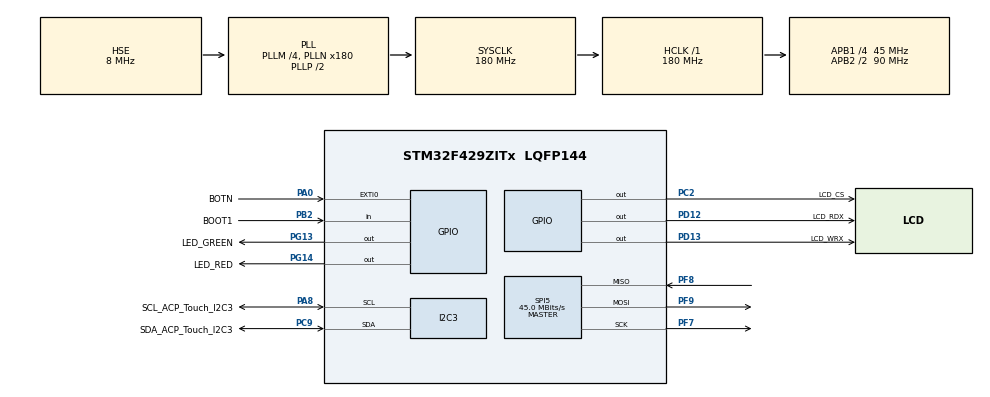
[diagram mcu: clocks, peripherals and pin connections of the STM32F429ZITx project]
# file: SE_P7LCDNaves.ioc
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Mcu.Family=STM32F4
Mcu.Name=STM32F429ZITx
Mcu.Package=LQFP144
NVIC.EXTI0_IRQn=true\:0\:0\:false\:false\:true\:true\:true\:true
NVIC.PriorityGroup=NVIC_PRIORITYGROUP_4
NVIC.TIM3_IRQn=true\:0\:0\:false\:false\:true\:true\:true\:true
PA0/WKUP.GPIO_Label=BOTN
PA0/WKUP.GPIO_PuPd=GPIO_PULLDOWN
PA0/WKUP.Signal=GPXTI0
PA13.Signal=SYS_JTMS-SWDIO
PA14.Signal=SYS_JTCK-SWCLK
PA8.GPIO_Label=SCL_ACP_Touch_I2C3
PA8.GPIO_Pu=GPIO_PULLUP
PA8.GPIO_Speed=GPIO_SPEED_FREQ_HIGH
PA8.Mode=I2C
PA8.Signal=I2C3_SCL
PB2/BOOT1.GPIO_Label=BOOT1
PB2/BOOT1.GPIO_PuPd=GPIO_PULLUP
PB2/BOOT1.Signal=GPIO_Input
PC2.GPIO_Label=LCD_CS
PC2.GPIO_Speed=GPIO_SPEED_FREQ_HIGH
PC2.PinState=GPIO_PIN_SET
PC2.Signal=GPIO_Output
PC9.GPIO_Label=SDA_ACP_Touch_I2C3
PC9.GPIO_Pu=GPIO_PULLUP
PC9.GPIO_Speed=GPIO_SPEED_FREQ_HIGH
PC9.Mode=I2C
PC9.Signal=I2C3_SDA
PD12.GPIO_Label=LCD_RDX
PD12.GPIO_Speed=GPIO_SPEED_FREQ_HIGH
PD12.Signal=GPIO_Output
PD13.GPIO_Label=LCD_WRX
PD13.GPIO_Speed=GPIO_SPEED_FREQ_HIGH
PD13.Signal=GPIO_Output
PF7.Mode=Full_Duplex_Master
PF7.Signal=SPI5_SCK
PF8.Mode=Full_Duplex_Master
PF8.Signal=SPI5_MISO
PF9.GPIO_PuPd=GPIO_NOPULL
PF9.Mode=Full_Duplex_Master
PF9.Signal=SPI5_MOSI
PG13.GPIO_Label=LED_GREEN
PG13.PinState=GPIO_PIN_RESET
PG13.Signal=GPIO_Output
PG14.GPIO_Label=LED_RED
PG14.PinState=GPIO_PIN_RESET
PG14.Signal=GPIO_Output
PH0/OSC_IN.Mode=HSE-External-Oscillator
PH0/OSC_IN.Signal=RCC_OSC_IN
PH1/OSC_OUT.Mode=HSE-External-Oscillator
PH1/OSC_OUT.Signal=RCC_OSC_OUT
ProjectManager.HeapSize=0x200
ProjectManager.StackSize=0x400
ProjectManager.TargetToolchain=STM32CubeIDE
RCC.48MHZClocksFreq_Value=90000000
RCC.AHBFreq_Value=180000000
RCC.APB1CLKDivider=RCC_HCLK_DIV4
RCC.APB1Freq_Value=45000000
RCC.APB1TimFreq_Value=90000000
RCC.APB2CLKDivider=RCC_HCLK_DIV2
RCC.APB2Freq_Value=90000000
RCC.APB2TimFreq_Value=180000000
RCC.CortexFreq_Value=180000000
RCC.HCLKFreq_Value=180000000
RCC.HSE_VALUE=8000000
RCC.HSI_VALUE=16000000
RCC.LSE_VALUE=32768
RCC.PLLM=4
RCC.PLLN=180
RCC.PLLSourceVirtual=RCC_PLLSOURCE_HSE
RCC.SYSCLKFreq_VALUE=180000000
RCC.SYSCLKSource=RCC_SYSCLKSOURCE_PLLCLK
RCC.VCOOutputFreq_Value=360000000
SPI5.CalculateBaudRate=45.0 MBits/s
SPI5.Direction=SPI_DIRECTION_2LINES
SPI5.Mode=SPI_MODE_MASTER
SPI5.VirtualType=VM_MASTER
TIM3.Period=2699
TIM3.Prescaler=99
VP_TIM3_VS_ClockSourceINT.Mode=Internal
board=custom

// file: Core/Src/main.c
/* USER CODE BEGIN Header */
/**
  ******************************************************************************
  * @file           : main.c
  * @brief          : Main program body
  ******************************************************************************
  * @attention
  *
  * Copyright (c) 2022 STMicroelectronics.
  * All rights reserved.
  *
  * This software is licensed under terms that can be found in the LICENSE file
  * in the root directory of this software component.
  * If no LICENSE file comes with this software, it is provided AS-IS.
  *
  ******************************************************************************
  */
/* USER CODE END Header */
#include "main.h"

/* USER CODE BEGIN Includes */
#include "main.h"
#include <stdbool.h>
#include <stdio.h>
#include <stdlib.h>
#include <string.h>
/* USER CODE END Includes */

/* USER CODE BEGIN PD */
// Image settings
#define IMG_ROWS 320
#define IMG_COLUMNS 240
#define IMG_TOTAL_BUF32 IMG_ROWS*IMG_COLUMNS/2 //(total de datos 32 bits)= 38400
#define IMG_TOTAL_BUF16 IMG_ROWS*IMG_COLUMNS //(total de datos 16 bits)= 76800
/* USER CODE END PD */

I2C_HandleTypeDef hi2c3;

SPI_HandleTypeDef hspi5;

TIM_HandleTypeDef htim3;

void delayx(uint32_t nTime);

void SystemClock_Config(void);
static void MX_GPIO_Init(void);
static void MX_I2C3_Init(void);
static void MX_SPI5_Init(void);
static void MX_TIM3_Init(void);

/* USER CODE BEGIN 0 */
#include "lcd_Touch_F4DISCO.c" //incluir librerias del LCD para Touch
static volatile uint32_t frame_buffer[IMG_TOTAL_BUF32]; //Bufer de imagen
uint16_t Xant=0, Yant=0, TP_X=0, TP_Y=0;				//Valores de touch
uint16_t Y_nave=120, Y_nave_ant=120, vel=500;			//Valores de nave
uint16_t Y_enemy=15, Y_enemy_ant=16, dir_enemy=0;		//Valores de enemigo
int16_t LaserX, LaserY,LaserX_ant, LaserY_ant, Laser_ON;//Valores del laser
uint16_t dir=0, win=5;									//Dirección y vidas de enemigo
//TP_STATE TP_StateOK;/*------------- INTERRUPCION DEL TIMER 3 -------------------------------------*/
void HAL_TIM_PeriodElapsedCallback(TIM_HandleTypeDef *htim){
	HAL_GPIO_TogglePin(GPIOG, LED_GREEN_Pin);
	if(win!=0){ //Si el enemigo todavia tiene vidas...
		if(dir_enemy == 0){	//Si va para abajo...
			if(Y_enemy_ant < 225){
				Y_enemy = Y_enemy + 1; //Baja 1
				//Borra nave enemiga
				LCD_ILI9341_DrawFilledRectangle_ImageBuffer(0, Y_enemy_ant-15, 20, Y_enemy_ant-5, ILI9341_COLOR_BLACK, (uint32_t*)frame_buffer); //dibujar nuevo
				LCD_ILI9341_DrawFilledRectangle_ImageBuffer(10, Y_enemy_ant-5, 30, Y_enemy_ant+5, ILI9341_COLOR_BLACK, (uint32_t*)frame_buffer); //dibujar nuevo
				LCD_ILI9341_DrawFilledRectangle_ImageBuffer(0, Y_enemy_ant+5, 20, Y_enemy_ant+15, ILI9341_COLOR_BLACK, (uint32_t*)frame_buffer); //dibujar nuevo
				//Pinta nueva nave enemiga
				LCD_ILI9341_DrawFilledRectangle_ImageBuffer(0, Y_enemy-15, 20, Y_enemy-5, ILI9341_COLOR_RED, (uint32_t*)frame_buffer); //dibujar nuevo
				LCD_ILI9341_DrawFilledRectangle_ImageBuffer(10, Y_enemy-5, 30, Y_enemy+5, ILI9341_COLOR_RED, (uint32_t*)frame_buffer); //dibujar nuevo
				LCD_ILI9341_DrawFilledRectangle_ImageBuffer(0, Y_enemy-5, 10,Y_enemy+5, ILI9341_COLOR_BLACK, (uint32_t*)frame_buffer); //dibujar nuevo
				LCD_ILI9341_DrawFilledRectangle_ImageBuffer(0, Y_enemy+5, 20, Y_enemy+15, ILI9341_COLOR_RED, (uint32_t*)frame_buffer); //dibujar nuevo
				Y_enemy_ant = Y_enemy;

			}
			else{dir_enemy=1;} //Llegó al fondo, ahora va para arriba
		}
		if(dir_enemy == 1){ //Si va para arriba...
			if(Y_enemy_ant > 15){
				Y_enemy = Y_enemy - 1; //Sube 1
				//Borra nave enemiga
				LCD_ILI9341_DrawFilledRectangle_ImageBuffer(0, Y_enemy_ant-15, 20, Y_enemy_ant-5, ILI9341_COLOR_BLACK, (uint32_t*)frame_buffer); //dibujar nuevo
				LCD_ILI9341_DrawFilledRectangle_ImageBuffer(10, Y_enemy_ant-5, 30, Y_enemy_ant+5, ILI9341_COLOR_BLACK, (uint32_t*)frame_buffer); //dibujar nuevo
				LCD_ILI9341_DrawFilledRectangle_ImageBuffer(0, Y_enemy_ant+5, 20, Y_enemy_ant+15, ILI9341_COLOR_BLACK, (uint32_t*)frame_buffer); //dibujar nuevo
				//Pinta nueva nave
				LCD_ILI9341_DrawFilledRectangle_ImageBuffer(0, Y_enemy-15, 20, Y_enemy-5, ILI9341_COLOR_RED, (uint32_t*)frame_buffer); //dibujar nuevo
				LCD_ILI9341_DrawFilledRectangle_ImageBuffer(10, Y_enemy-5, 30, Y_enemy+5, ILI9341_COLOR_RED, (uint32_t*)frame_buffer); //dibujar nuevo
				LCD_ILI9341_DrawFilledRectangle_ImageBuffer(0, Y_enemy-5, 10,Y_enemy+5, ILI9341_COLOR_BLACK, (uint32_t*)frame_buffer); //dibujar nuevo
				LCD_ILI9341_DrawFilledRectangle_ImageBuffer(0, Y_enemy+5, 20, Y_enemy+15, ILI9341_COLOR_RED, (uint32_t*)frame_buffer); //dibujar nuevo
				Y_enemy_ant = Y_enemy;

			}
			else{dir_enemy=0;} //Llegó al tope, va para abajo
		}

		if(Laser_ON == 1){ //Si se picó al botón..
			LaserX = LaserX-1;	//El laser avanza a la izquierda...
			if (LaserX>1){		//Cuando no ha llegado al borde...
				//Borrar y pintar nuevo laser
				LCD_ILI9341_DrawFilledRectangle_ImageBuffer(LaserX_ant, LaserY-5, LaserX_ant+20,LaserY+5, ILI9341_COLOR_BLACK, (uint32_t*)frame_buffer);
				LCD_ILI9341_DrawFilledRectangle_ImageBuffer(LaserX, LaserY-5, LaserX+20,LaserY+5, ILI9341_COLOR_YELLOW, (uint32_t*)frame_buffer);
				LaserX_ant=LaserX;
				//Si el laser llega al enemigo y están en coordenadas parecidas...
				if(LaserX==15 && LaserY>Y_enemy-20 && LaserY<Y_enemy+20){
					win=win-1;	//Se quita una vida
					//Se borra un cuadro de vida
					LCD_ILI9341_DrawFilledRectangle_ImageBuffer(285-50*(5-win), 0, 285-1, 14, ILI9341_COLOR_BLACK, (uint32_t*)frame_buffer);
				}
			}
			else{ //Ya llegó al borde y se borra
				LCD_ILI9341_DrawFilledRectangle_ImageBuffer(0, LaserY-5, 21, LaserY+5, ILI9341_COLOR_BLACK, (uint32_t*)frame_buffer);
				Laser_ON=0;
			}
		}
	}
	else{}
}
/* USER CODE END 0 */

int main(void)
{

  /* MCU Configuration--------------------------------------------------------*/

  /* Reset of all peripherals, Initializes the Flash interface and the Systick. */
  HAL_Init();

  /* Configure the system clock */
  SystemClock_Config();

  /* Initialize all configured peripherals */
  MX_GPIO_Init();
  MX_I2C3_Init();
  MX_SPI5_Init();
  MX_TIM3_Init();
  /* USER CODE BEGIN 2 */
	HAL_GPIO_WritePin(GPIOG, LED_RED_Pin, GPIO_PIN_RESET); //LED1 apagado
	HAL_GPIO_WritePin(GPIOG, LED_GREEN_Pin, GPIO_PIN_RESET); //LED2 apagado
	LCD_ILI9341_Init(&hspi5); //inicializar LCD
	LCD_ILI9341_Rotate(LCD_ILI9341_Orientation_Landscape_2);
	if (TP_Config() != 0){ //Inicializar Touch, ERROR?
		LCD_ILI9341_DrawFilledRectangle_ImageBuffer(0,0,320,240, ILI9341_COLOR_WHITE,(uint32_t*)frame_buffer);
		LCD_ILI9341_Puts_ImageBuffer(10, 10, "ID o CONFIGURACION ERROR", &LCD_Font_7x10,ILI9341_COLOR_RED, (uint32_t*)frame_buffer);
		//LCD_ILI9341_Puts(10, 40, "ID o CONFIGURACION ERROR", &LCD_Font_7x10, ILI9341_COLOR_RED,ILI9341_COLOR_BLACK);
		while(1){}
	}
	/////////////////////////////////Preparaciones//////////////////////////////////////
	//Pintar fondo, botón y barra de vida
	LCD_ILI9341_DrawFilledRectangle_ImageBuffer(0,0,320,240, ILI9341_COLOR_BLACK,(uint32_t*)frame_buffer);
	LCD_ILI9341_DrawFilledRectangle_ImageBuffer(140,220,180,240, ILI9341_COLOR_WHITE,(uint32_t*)frame_buffer);
	LCD_ILI9341_DrawFilledRectangle_ImageBuffer(35,0,285,15, ILI9341_COLOR_RED,(uint32_t*)frame_buffer);
	//Pintar nave de personaje
	LCD_ILI9341_DrawFilledRectangle_ImageBuffer(310, Y_nave-25, 320,Y_nave-15, ILI9341_COLOR_BLUE, (uint32_t*)frame_buffer); //dibujar nuevo
	LCD_ILI9341_DrawFilledRectangle_ImageBuffer(300, Y_nave-15, 320,Y_nave-5, ILI9341_COLOR_BLUE, (uint32_t*)frame_buffer); //dibujar nuevo
	LCD_ILI9341_DrawFilledRectangle_ImageBuffer(290, Y_nave-5, 310,Y_nave+5, ILI9341_COLOR_BLUE, (uint32_t*)frame_buffer); //dibujar nuevo
	LCD_ILI9341_DrawFilledRectangle_ImageBuffer(300, Y_nave+5, 320,Y_nave+15, ILI9341_COLOR_BLUE, (uint32_t*)frame_buffer); //dibujar nuevo
	LCD_ILI9341_DrawFilledRectangle_ImageBuffer(310, Y_nave+15, 320,Y_nave+25, ILI9341_COLOR_BLUE, (uint32_t*)frame_buffer); //dibujar nuevo

	LCD_ILI9341_DisplayImage((uint32_t*)frame_buffer);
	HAL_TIM_Base_Start_IT(&htim3);//inicializa interrupciones de overflow del timer3
  /* USER CODE END 2 */

  /* Infinite loop */
  /* USER CODE BEGIN WHILE */
	while (1){
		TP_GetState();
		//>1 para evitar falsas lecturas del touch
		if((TP_State.TouchDetected)&&(TP_State.X<239)&&(TP_State.Y>1)){
			TP_X=TP_State.Y;//Coordenada del touch en X Porque el display esta girado
			TP_Y=240-TP_State.X; //Coordenada del touch en Y
			//Dibujar posicion del touch
			//LCD_ILI9341_DrawLine_ImageBuffer(Xant-10, Yant, Xant+10, Yant,ILI9341_COLOR_GREEN2, (uint32_t*)frame_buffer);
			//LCD_ILI9341_DrawLine_ImageBuffer(Xant, Yant-10, Xant, Yant+10,ILI9341_COLOR_GREEN2, (uint32_t*)frame_buffer);
			//LCD_ILI9341_DrawLine_ImageBuffer(TP_X-10, TP_Y, TP_X+10, TP_Y,ILI9341_COLOR_BLACK, (uint32_t*)frame_buffer);
			//LCD_ILI9341_DrawLine_ImageBuffer(TP_X, TP_Y-10, TP_X, TP_Y+10,ILI9341_COLOR_BLACK, (uint32_t*)frame_buffer);
			if(TP_X>200){
				if((TP_Y>25)&&(TP_Y<215)){
					Y_nave=TP_Y;
					//Borrar nave de jugador
					LCD_ILI9341_DrawFilledRectangle_ImageBuffer(310, Y_nave_ant-25, 320,Y_nave_ant-15, ILI9341_COLOR_BLACK, (uint32_t*)frame_buffer); //dibujar nuevo
					LCD_ILI9341_DrawFilledRectangle_ImageBuffer(300, Y_nave_ant-15, 320,Y_nave_ant-5, ILI9341_COLOR_BLACK, (uint32_t*)frame_buffer); //dibujar nuevo
					LCD_ILI9341_DrawFilledRectangle_ImageBuffer(290, Y_nave_ant-5, 310,Y_nave_ant+5, ILI9341_COLOR_BLACK, (uint32_t*)frame_buffer); //dibujar nuevo
					LCD_ILI9341_DrawFilledRectangle_ImageBuffer(300, Y_nave_ant+5, 320,Y_nave_ant+15, ILI9341_COLOR_BLACK, (uint32_t*)frame_buffer); //dibujar nuevo
					LCD_ILI9341_DrawFilledRectangle_ImageBuffer(310, Y_nave_ant+15, 320,Y_nave_ant+25, ILI9341_COLOR_BLACK, (uint32_t*)frame_buffer); //dibujar nuevo
					//Imprimir nueva nave de jugador
					LCD_ILI9341_DrawFilledRectangle_ImageBuffer(310, Y_nave-25, 320,Y_nave-15, ILI9341_COLOR_BLUE, (uint32_t*)frame_buffer); //dibujar nuevo
					LCD_ILI9341_DrawFilledRectangle_ImageBuffer(300, Y_nave-15, 320,Y_nave-5, ILI9341_COLOR_BLUE, (uint32_t*)frame_buffer); //dibujar nuevo
					LCD_ILI9341_DrawFilledRectangle_ImageBuffer(290, Y_nave-5, 310,Y_nave+5, ILI9341_COLOR_BLUE, (uint32_t*)frame_buffer); //dibujar nuevo
					LCD_ILI9341_DrawFilledRectangle_ImageBuffer(310, Y_nave-5, 320,Y_nave+5, ILI9341_COLOR_BLACK, (uint32_t*)frame_buffer); //dibujar nuevo
					LCD_ILI9341_DrawFilledRectangle_ImageBuffer(300, Y_nave+5, 320,Y_nave+15, ILI9341_COLOR_BLUE, (uint32_t*)frame_buffer); //dibujar nuevo
					LCD_ILI9341_DrawFilledRectangle_ImageBuffer(310, Y_nave+15, 320,Y_nave+25, ILI9341_COLOR_BLUE, (uint32_t*)frame_buffer); //dibujar nuevo
					Y_nave_ant=Y_nave;
				}
			}
			if((TP_X>140)&&(TP_X<180)&&(TP_Y>220)&&(TP_Y<240)){ //Presión del boton de disparo
				Laser_ON=1;
				LaserY = Y_nave_ant;	//Captura eje Y para el laser
				LaserX = 280;			//Desde jugador...
				LaserX_ant=LaserX+1;
			}

			Xant=TP_X;
			Yant=TP_Y;

		}
		if(win==0){ //Si acabaste con el enemigo...
			//Borrar enemigo e imprimir mensaje de victoria
			LCD_ILI9341_DrawFilledRectangle_ImageBuffer(0, 0, 30, 30, ILI9341_COLOR_BLACK, (uint32_t*)frame_buffer);
			LCD_ILI9341_DrawFilledRectangle_ImageBuffer(0, 16, 140, 220, ILI9341_COLOR_BLACK, (uint32_t*)frame_buffer);
			LCD_ILI9341_DisplayImage((uint32_t*)frame_buffer);
			delayx(5);
			LCD_ILI9341_Puts_ImageBuffer(138 , 120, "YOU WIN", &LCD_Font_7x10,ILI9341_COLOR_GREEN, (uint32_t*)frame_buffer);
			LCD_ILI9341_DisplayImage((uint32_t*)frame_buffer);
			while(1){}	//Fin del juego
		}
		LCD_ILI9341_DisplayImage((uint32_t*)frame_buffer);
    /* USER CODE END WHILE */

	}
}

void delayx(uint32_t nTime) {while(nTime--);}

void SystemClock_Config(void)
{
  RCC_OscInitTypeDef RCC_OscInitStruct = {0};
  RCC_ClkInitTypeDef RCC_ClkInitStruct = {0};

  /** Configure the main internal regulator output voltage
  */
  __HAL_RCC_PWR_CLK_ENABLE();
  __HAL_PWR_VOLTAGESCALING_CONFIG(PWR_REGULATOR_VOLTAGE_SCALE1);

  /** Initializes the RCC Oscillators according to the specified parameters
  * in the RCC_OscInitTypeDef structure.
  */
  RCC_OscInitStruct.OscillatorType = RCC_OSCILLATORTYPE_HSE;
  RCC_OscInitStruct.HSEState = RCC_HSE_ON;
  RCC_OscInitStruct.PLL.PLLState = RCC_PLL_ON;
  RCC_OscInitStruct.PLL.PLLSource = RCC_PLLSOURCE_HSE;
  RCC_OscInitStruct.PLL.PLLM = 4;
  RCC_OscInitStruct.PLL.PLLN = 180;
  RCC_OscInitStruct.PLL.PLLP = RCC_PLLP_DIV2;
  RCC_OscInitStruct.PLL.PLLQ = 4;
  if (HAL_RCC_OscConfig(&RCC_OscInitStruct) != HAL_OK)
  {
    Error_Handler();
  }

  /** Activate the Over-Drive mode
  */
  if (HAL_PWREx_EnableOverDrive() != HAL_OK)
  {
    Error_Handler();
  }

  /** Initializes the CPU, AHB and APB buses clocks
  */
  RCC_ClkInitStruct.ClockType = RCC_CLOCKTYPE_HCLK|RCC_CLOCKTYPE_SYSCLK
                              |RCC_CLOCKTYPE_PCLK1|RCC_CLOCKTYPE_PCLK2;
  RCC_ClkInitStruct.SYSCLKSource = RCC_SYSCLKSOURCE_PLLCLK;
  RCC_ClkInitStruct.AHBCLKDivider = RCC_SYSCLK_DIV1;
  RCC_ClkInitStruct.APB1CLKDivider = RCC_HCLK_DIV4;
  RCC_ClkInitStruct.APB2CLKDivider = RCC_HCLK_DIV2;

  if (HAL_RCC_ClockConfig(&RCC_ClkInitStruct, FLASH_LATENCY_5) != HAL_OK)
  {
    Error_Handler();
  }
}

static void MX_I2C3_Init(void)
{

  hi2c3.Instance = I2C3;
  hi2c3.Init.ClockSpeed = 100000;
  hi2c3.Init.DutyCycle = I2C_DUTYCYCLE_2;
  hi2c3.Init.OwnAddress1 = 0;
  hi2c3.Init.AddressingMode = I2C_ADDRESSINGMODE_7BIT;
  hi2c3.Init.DualAddressMode = I2C_DUALADDRESS_DISABLE;
  hi2c3.Init.OwnAddress2 = 0;
  hi2c3.Init.GeneralCallMode = I2C_GENERALCALL_DISABLE;
  hi2c3.Init.NoStretchMode = I2C_NOSTRETCH_DISABLE;
  if (HAL_I2C_Init(&hi2c3) != HAL_OK)
  {
    Error_Handler();
  }

  /** Configure Analogue filter
  */
  if (HAL_I2CEx_ConfigAnalogFilter(&hi2c3, I2C_ANALOGFILTER_ENABLE) != HAL_OK)
  {
    Error_Handler();
  }

  /** Configure Digital filter
  */
  if (HAL_I2CEx_ConfigDigitalFilter(&hi2c3, 0) != HAL_OK)
  {
    Error_Handler();
  }

}

static void MX_SPI5_Init(void)
{

  /* SPI5 parameter configuration*/
  hspi5.Instance = SPI5;
  hspi5.Init.Mode = SPI_MODE_MASTER;
  hspi5.Init.Direction = SPI_DIRECTION_2LINES;
  hspi5.Init.DataSize = SPI_DATASIZE_8BIT;
  hspi5.Init.CLKPolarity = SPI_POLARITY_LOW;
  hspi5.Init.CLKPhase = SPI_PHASE_1EDGE;
  hspi5.Init.NSS = SPI_NSS_SOFT;
  hspi5.Init.BaudRatePrescaler = SPI_BAUDRATEPRESCALER_2;
  hspi5.Init.FirstBit = SPI_FIRSTBIT_MSB;
  hspi5.Init.TIMode = SPI_TIMODE_DISABLE;
  hspi5.Init.CRCCalculation = SPI_CRCCALCULATION_DISABLE;
  hspi5.Init.CRCPolynomial = 10;
  if (HAL_SPI_Init(&hspi5) != HAL_OK)
  {
    Error_Handler();
  }

}

static void MX_TIM3_Init(void)
{

  TIM_ClockConfigTypeDef sClockSourceConfig = {0};
  TIM_MasterConfigTypeDef sMasterConfig = {0};

  htim3.Instance = TIM3;
  htim3.Init.Prescaler = 99;
  htim3.Init.CounterMode = TIM_COUNTERMODE_UP;
  htim3.Init.Period = 2699;
  htim3.Init.ClockDivision = TIM_CLOCKDIVISION_DIV1;
  htim3.Init.AutoReloadPreload = TIM_AUTORELOAD_PRELOAD_DISABLE;
  if (HAL_TIM_Base_Init(&htim3) != HAL_OK)
  {
    Error_Handler();
  }
  sClockSourceConfig.ClockSource = TIM_CLOCKSOURCE_INTERNAL;
  if (HAL_TIM_ConfigClockSource(&htim3, &sClockSourceConfig) != HAL_OK)
  {
    Error_Handler();
  }
  sMasterConfig.MasterOutputTrigger = TIM_TRGO_RESET;
  sMasterConfig.MasterSlaveMode = TIM_MASTERSLAVEMODE_DISABLE;
  if (HAL_TIMEx_MasterConfigSynchronization(&htim3, &sMasterConfig) != HAL_OK)
  {
    Error_Handler();
  }

}

static void MX_GPIO_Init(void)
{
  GPIO_InitTypeDef GPIO_InitStruct = {0};

  /* GPIO Ports Clock Enable */
  __HAL_RCC_GPIOF_CLK_ENABLE();
  __HAL_RCC_GPIOH_CLK_ENABLE();
  __HAL_RCC_GPIOC_CLK_ENABLE();
  __HAL_RCC_GPIOA_CLK_ENABLE();
  __HAL_RCC_GPIOB_CLK_ENABLE();
  __HAL_RCC_GPIOD_CLK_ENABLE();
  __HAL_RCC_GPIOG_CLK_ENABLE();

  /*Configure GPIO pin Output Level */
  HAL_GPIO_WritePin(LCD_CS_GPIO_Port, LCD_CS_Pin, GPIO_PIN_SET);

  /*Configure GPIO pin Output Level */
  HAL_GPIO_WritePin(GPIOD, LCD_RDX_Pin|LCD_WRX_Pin, GPIO_PIN_RESET);

  /*Configure GPIO pin Output Level */
  HAL_GPIO_WritePin(GPIOG, LED_GREEN_Pin|LED_RED_Pin, GPIO_PIN_RESET);

  /*Configure GPIO pin : LCD_CS_Pin */
  GPIO_InitStruct.Pin = LCD_CS_Pin;
  GPIO_InitStruct.Mode = GPIO_MODE_OUTPUT_PP;
  GPIO_InitStruct.Pull = GPIO_NOPULL;
  GPIO_InitStruct.Speed = GPIO_SPEED_FREQ_HIGH;
  HAL_GPIO_Init(LCD_CS_GPIO_Port, &GPIO_InitStruct);

  /*Configure GPIO pin : BOTN_Pin */
  GPIO_InitStruct.Pin = BOTN_Pin;
  GPIO_InitStruct.Mode = GPIO_MODE_IT_RISING;
  GPIO_InitStruct.Pull = GPIO_PULLDOWN;
  HAL_GPIO_Init(BOTN_GPIO_Port, &GPIO_InitStruct);

  /*Configure GPIO pin : BOOT1_Pin */
  GPIO_InitStruct.Pin = BOOT1_Pin;
  GPIO_InitStruct.Mode = GPIO_MODE_INPUT;
  GPIO_InitStruct.Pull = GPIO_PULLUP;
  HAL_GPIO_Init(BOOT1_GPIO_Port, &GPIO_InitStruct);

  /*Configure GPIO pins : LCD_RDX_Pin LCD_WRX_Pin */
  GPIO_InitStruct.Pin = LCD_RDX_Pin|LCD_WRX_Pin;
  GPIO_InitStruct.Mode = GPIO_MODE_OUTPUT_PP;
  GPIO_InitStruct.Pull = GPIO_NOPULL;
  GPIO_InitStruct.Speed = GPIO_SPEED_FREQ_HIGH;
  HAL_GPIO_Init(GPIOD, &GPIO_InitStruct);

  /*Configure GPIO pins : LED_GREEN_Pin LED_RED_Pin */
  GPIO_InitStruct.Pin = LED_GREEN_Pin|LED_RED_Pin;
  GPIO_InitStruct.Mode = GPIO_MODE_OUTPUT_PP;
  GPIO_InitStruct.Pull = GPIO_NOPULL;
  GPIO_InitStruct.Speed = GPIO_SPEED_FREQ_LOW;
  HAL_GPIO_Init(GPIOG, &GPIO_InitStruct);

  /* EXTI interrupt init*/
  HAL_NVIC_SetPriority(EXTI0_IRQn, 0, 0);
  HAL_NVIC_EnableIRQ(EXTI0_IRQn);

}

void Error_Handler(void)
{
  __disable_irq();
  while (1){}
}
